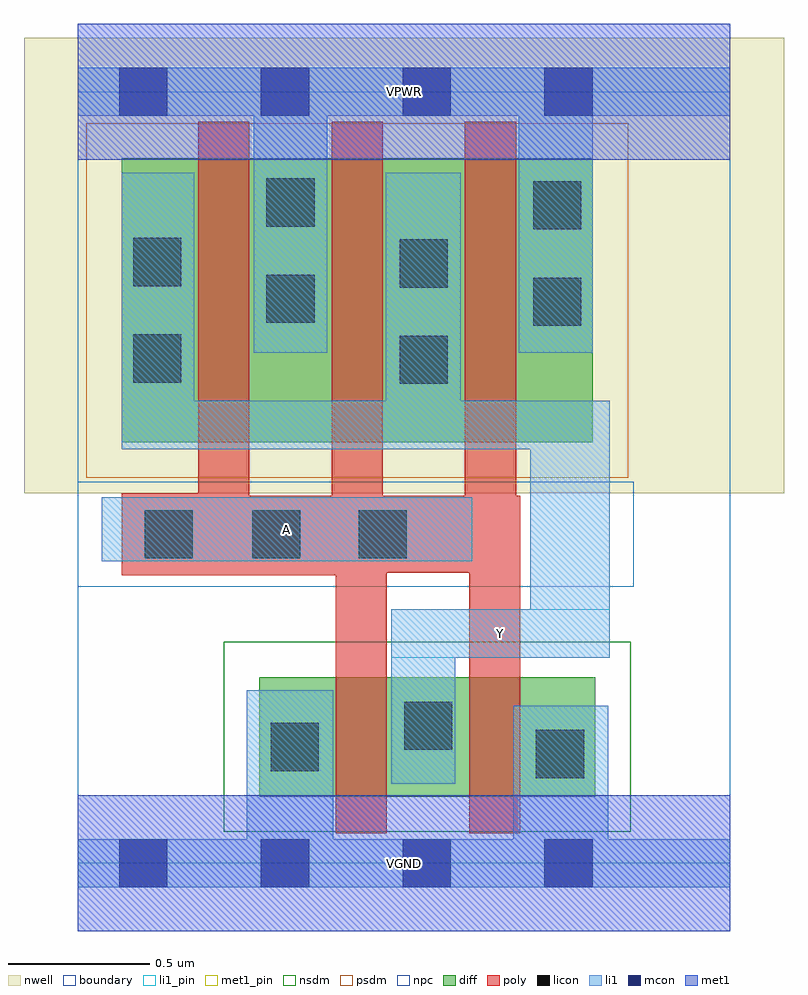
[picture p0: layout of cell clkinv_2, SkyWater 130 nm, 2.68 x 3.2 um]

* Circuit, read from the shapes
.subckt clkinv_2 A VGND VPWR Y
XM1 Y A VGND VSUBS sky130_fd_pr__nfet_01v8 w=0.42 l=0.18 m=2
XM2 VPWR A Y n1 sky130_fd_pr__pfet_01v8 w=1 l=0.18 m=3
.ends

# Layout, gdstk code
import gdstk
lib = gdstk.Library(unit=1e-6, precision=1e-09)
def R(c, l, rs):  # rectangles x0, y0, x1, y1
    for r in rs: c.add(gdstk.rectangle(r[:2], r[2:], *l))
def A(c, l, x, y, w, h, nx, ny, dx, dy):  # array of equal rectangles
    R(c, l, [(x+i*dx, y+j*dy, x+i*dx+w, y+j*dy+h) for i in range(nx) for j in range(ny)])
nwell = (64, 20)
diff = (65, 20)
poly = (66, 20)
licon = (66, 44)
li1_pin = (67, 16)
li1 = (67, 20)
mcon = (67, 44)
met1_pin = (68, 16)
met1 = (68, 20)
nsdm = (93, 44)
psdm = (94, 20)
npc = (95, 20)
boundary = (235, 4)

clkinv_2 = lib.new_cell('clkinv_2')
R(clkinv_2, nwell, [(-0.19,1.305,2.49,2.91), (0,1.305,2.3,2.91)])
R(clkinv_2, diff, [(0.64,0.235,1.825,0.655), (0.155,1.485,1.815,2.485)])
R(clkinv_2, poly, [(0.91,0.105,1.09,1.295), (1.38,0.105,1.56,1.295), (0.155,1.015,1.09,1.295), (0.155,1.015,0.605,1.305), (0.425,1.015,0.605,2.615), (0.895,1.015,1.075,2.615), (0.155,1.025,1.56,1.295), (1.365,1.025,1.545,2.615)])
R(clkinv_2, licon, [(1.615,0.3,1.785,0.47), (0.68,0.325,0.85,0.495), (1.15,0.4,1.32,0.57), (0.235,1.075,0.405,1.245), (0.615,1.075,0.785,1.245), (0.99,1.075,1.16,1.245), (1.135,1.69,1.305,1.86), (0.195,1.695,0.365,1.865), (1.605,1.895,1.775,2.065), (0.665,1.905,0.835,2.075), (1.135,2.03,1.305,2.2), (0.195,2.035,0.365,2.205), (1.605,2.235,1.775,2.405), (0.665,2.245,0.835,2.415)])
R(clkinv_2, li1_pin, [(1.105,0.725,1.875,0.895), (0.085,1.065,1.39,1.29)])
R(clkinv_2, li1, [(0,-0.085,2.3,0.085), (0.595,-0.085,0.9,0.61), (1.535,-0.085,1.87,0.555), (1.105,0.28,1.33,0.895), (1.105,0.725,1.875,0.895), (1.595,0.725,1.875,1.63), (0.085,1.065,1.39,1.29), (0.155,1.46,1.875,1.63), (0.155,1.46,0.41,2.435), (1.085,1.46,1.35,2.435), (0.62,1.8,0.88,2.805), (1.555,1.8,1.815,2.805), (0,2.635,2.3,2.805)])
A(clkinv_2, mcon, 0.145, -0.085, 0.17, 0.17, 4, 2, 0.5, 2.72)
R(clkinv_2, met1_pin, [(0,-0.24,2.3,0.24), (0,2.48,2.3,2.96)])
R(clkinv_2, met1, [(0,-0.24,2.3,0.24), (0,2.48,2.3,2.96)])
R(clkinv_2, nsdm, [(0.515,0.11,1.95,0.78)])
R(clkinv_2, psdm, [(0.03,1.36,1.94,2.61)])
R(clkinv_2, npc, [(0,0.975,1.96,1.345)])
R(clkinv_2, boundary, [(0,0,2.3,2.72)])
clkinv_2.add(gdstk.Label('A', (0.737,1.177), layer=67, texttype=5))
clkinv_2.add(gdstk.Label('Y', (1.49,0.81), layer=67, texttype=5))
clkinv_2.add(gdstk.Label('VPWR', (1.15,2.72), layer=68, texttype=5))
clkinv_2.add(gdstk.Label('VGND', (1.15,0), layer=68, texttype=5))
clkinv_2.add(gdstk.Label('A', (0.737,1.177), layer=67, texttype=16))
clkinv_2.add(gdstk.Label('Y', (1.49,0.81), layer=67, texttype=16))
clkinv_2.add(gdstk.Label('VPWR', (1.15,2.72), layer=68, texttype=16))
clkinv_2.add(gdstk.Label('VGND', (1.15,0), layer=68, texttype=16))

lib.write_gds('clkinv_2.gds')
